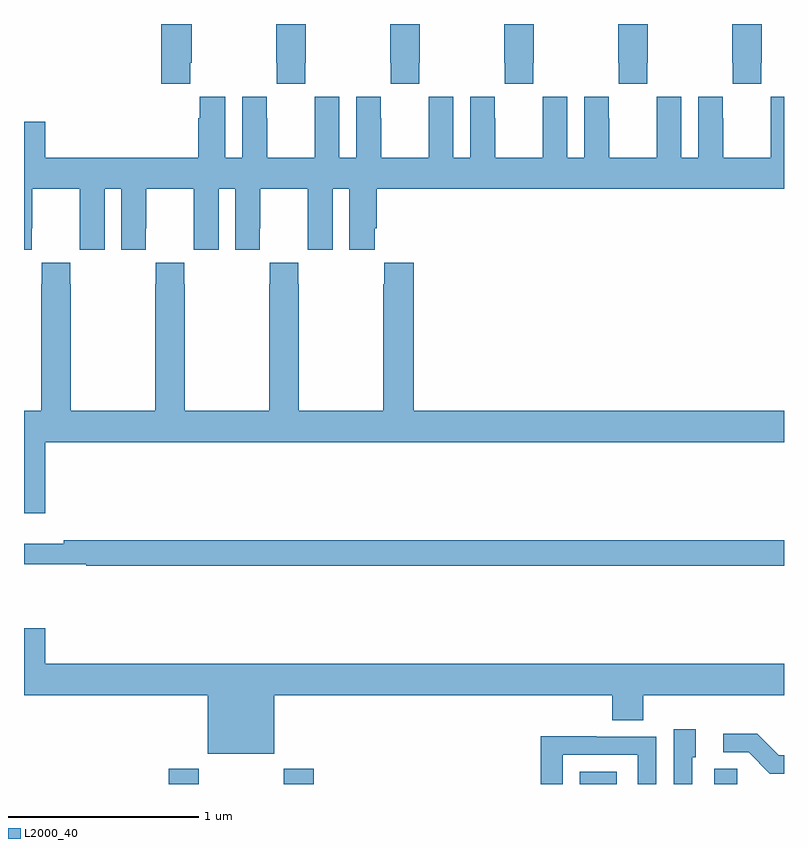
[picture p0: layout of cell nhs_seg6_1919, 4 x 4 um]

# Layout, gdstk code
import gdstk
lib = gdstk.Library(unit=1e-6, precision=1e-09)
def R(c, l, rs):  # rectangles x0, y0, x1, y1
    for r in rs: c.add(gdstk.rectangle(r[:2], r[2:], *l))
def P(c, l, *ps):  # polygons
    for p in ps: c.add(gdstk.Polygon(p, *l))
L2000_40 = (2000, 40)

nhs_seg6_1919 = lib.new_cell('nhs_seg6_1919')
R(nhs_seg6_1919, L2000_40, [(225.761,981.5,225.921,981.58), (226.366,981.5,226.526,981.58), (227.924,981.5,228.121,981.565), (228.632,981.5,228.753,981.581)])
P(nhs_seg6_1919, L2000_40, [(225.875,985.297),(225.882,985.297),(225.882,985.5),(225.722,985.5),(225.722,985.185),(225.875,985.185)],
  [(226.479,985.297),(226.482,985.297),(226.482,985.5),(226.327,985.5),(226.327,985.297),(226.329,985.297),(226.329,985.185),(226.479,985.185)],
  [(227.079,985.297),(227.082,985.297),(227.082,985.5),(226.927,985.5),(226.927,985.297),(226.929,985.297),(226.929,985.185),(227.079,985.185)],
  [(227.679,985.297),(227.682,985.297),(227.682,985.5),(227.527,985.5),(227.527,985.297),(227.529,985.297),(227.529,985.185),(227.679,985.185)],
  [(228.279,985.297),(228.282,985.297),(228.282,985.5),(228.127,985.5),(228.127,985.297),(228.129,985.297),(228.129,985.185),(228.279,985.185)],
  [(228.879,985.297),(228.882,985.297),(228.882,985.5),(228.727,985.5),(228.727,985.297),(228.729,985.297),(228.729,985.185),(228.879,985.185)],
  [(226.242,984.424),(226.243,984.424),(226.243,984.632),(226.493,984.632),(226.493,984.424),(226.494,984.424),(226.494,984.312),(226.624,984.312),(226.624,984.632),(226.712,984.632),(226.712,984.312),(226.846,984.312),(226.846,984.424),(226.856,984.424),(226.856,984.632),(229,984.632),(229,985.117),(228.93,985.117),(228.93,985.004),(228.929,985.004),(228.929,984.796),(228.679,984.796),(228.679,985.004),(228.678,985.004),(228.678,985.117),(228.548,985.117),(228.548,984.796),(228.46,984.796),(228.46,985.117),(228.33,985.117),(228.33,985.004),(228.329,985.004),(228.329,984.796),(228.079,984.796),(228.079,985.004),(228.078,985.004),(228.078,985.117),(227.948,985.117),(227.948,984.796),(227.86,984.796),(227.86,985.117),(227.73,985.117),(227.73,985.004),(227.729,985.004),(227.729,984.796),(227.479,984.796),(227.479,985.004),(227.478,985.004),(227.478,985.117),(227.348,985.117),(227.348,984.796),(227.26,984.796),(227.26,985.117),(227.13,985.117),(227.13,985.004),(227.129,985.004),(227.129,984.796),(226.879,984.796),(226.879,985.004),(226.878,985.004),(226.878,985.117),(226.748,985.117),(226.748,984.796),(226.66,984.796),(226.66,985.117),(226.53,985.117),(226.53,985.004),(226.529,985.004),(226.529,984.796),(226.279,984.796),(226.279,985.004),(226.278,985.004),(226.278,985.117),(226.148,985.117),(226.148,984.796),(226.06,984.796),(226.06,985.117),(225.926,985.117),(225.926,985.004),(225.917,985.004),(225.917,984.796),(225.112,984.796),(225.112,984.985),(225,984.985),(225,984.312),(225.042,984.312),(225.042,984.424),(225.043,984.424),(225.043,984.632),(225.293,984.632),(225.293,984.424),(225.294,984.424),(225.294,984.312),(225.424,984.312),(225.424,984.632),(225.512,984.632),(225.512,984.312),(225.642,984.312),(225.642,984.424),(225.643,984.424),(225.643,984.632),(225.893,984.632),(225.893,984.424),(225.894,984.424),(225.894,984.312),(226.024,984.312),(226.024,984.632),(226.112,984.632),(226.112,984.312),(226.242,984.312)],
  [(225.112,983.3),(229,983.3),(229,983.464),(227.051,983.464),(227.051,984.244),(226.897,984.244),(226.897,984.131),(226.891,984.131),(226.891,983.464),(226.446,983.464),(226.446,984.131),(226.443,984.131),(226.443,984.244),(226.293,984.244),(226.293,984.131),(226.291,984.131),(226.291,983.464),(225.846,983.464),(225.846,984.131),(225.843,984.131),(225.843,984.244),(225.693,984.244),(225.693,984.131),(225.691,984.131),(225.691,983.464),(225.246,983.464),(225.246,984.131),(225.243,984.131),(225.243,984.244),(225.093,984.244),(225.093,984.131),(225.091,984.131),(225.091,983.464),(225,983.464),(225,982.926),(225.112,982.926)],
  [(229,982.784),(225.208,982.784),(225.208,982.765),(225,982.765),(225,982.656),(225.328,982.656),(225.328,982.648),(229,982.648)],
  [(226.318,981.968),(228.095,981.968),(228.095,981.835),(228.26,981.835),(228.26,981.968),(229,981.968),(229,982.132),(225.112,982.132),(225.112,982.321),(225,982.321),(225,981.968),(225.968,981.968),(225.968,981.659),(226.318,981.659)],
  [(228.516,981.642),(228.535,981.642),(228.535,981.787),(228.42,981.787),(228.42,981.5),(228.516,981.5)],
  [(229,981.651),(228.972,981.651),(228.859,981.764),(228.681,981.764),(228.681,981.666),(228.815,981.666),(228.926,981.555),(229,981.555)],
  [(227.835,981.654),(228.231,981.654),(228.231,981.5),(228.327,981.5),(228.327,981.75),(228.011,981.75),(228.011,981.752),(227.719,981.752),(227.719,981.5),(227.835,981.5)])

lib.write_gds('nhs_seg6_1919.gds')
